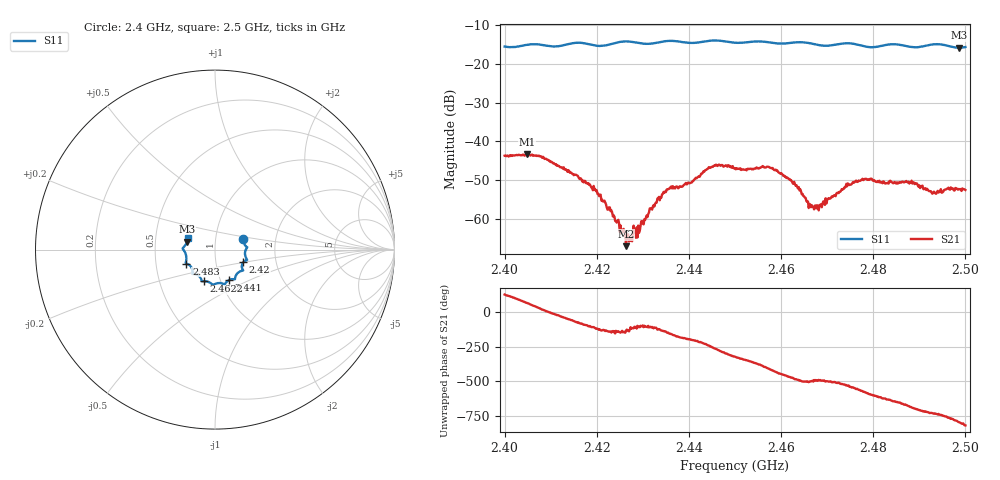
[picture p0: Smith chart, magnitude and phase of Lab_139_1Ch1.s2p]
# Hz S RI R 50
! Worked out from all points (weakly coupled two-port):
!   601 points, 2.4 GHz to 2.5 GHz, reference 50 ohm
!   highest |S21| = -43.19 dB at 2.4048 GHz (marker M1); lowest = -67.0 dB at 2.4263 GHz (marker M2)
!   lowest |S11| = -15.8 dB at 2.4987 GHz (marker M3), VSWR 1.39, Z = 36.4 + j3.32 ohm
!   |S11| at or under -10 dB: start of sweep to end of sweep
!   S12 and S22 are empty: the file has one direction only
!   S11 on the Smith chart (normalised r, x): 2.4 GHz: 1.36, +0.17; 2.42 GHz: 1.36, -0.20; 2.441 GHz: 1.09, -0.39; 2.4622 GHz: 0.83, -0.30; 2.483 GHz: 0.72, -0.12; 2.5 GHz: 0.73, +0.10
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2.4e9  0.1565 0.0602  -0.00348 0.00556  0 0  0 0
2.404833e9  0.176 0.0158  0.00325 0.00612  0 0  0 0
2.416667e9  0.1779 -0.0581  0.000314 -0.00324  0 0  0 0
2.42e9  0.1568 -0.0708  -0.00121 -0.00199  0 0  0 0
2.426333e9  0.1571 -0.1163  -0.000345 -0.000282  0 0  0 0
2.427333e9  0.1546 -0.1169  -0.000194 -0.000491  0 0  0 0
2.429e9  0.1434 -0.1198  -0.000301 -0.000765  0 0  0 0
2.433333e9  0.1128 -0.1525  -0.0011 -0.0015  0 0  0 0
2.435667e9  0.1111 -0.1645  -0.00224 -0.00102  0 0  0 0
2.441e9  0.0766 -0.1705  -0.00284 0.0013  0 0  0 0
2.4455e9  0.0531 -0.1939  -0.000633 0.00485  0 0  0 0
2.45e9  0.0262 -0.1862  0.00357 0.00275  0 0  0 0
2.457333e9  -0.0202 -0.1892  0.00313 -0.00351  0 0  0 0
2.462167e9  -0.0635 -0.1763  -0.00118 -0.00295  0 0  0 0
2.466667e9  -0.0762 -0.1667  -0.00112 -0.001  0 0  0 0
2.476e9  -0.1252 -0.1304  -0.00298 0.000384  0 0  0 0
2.483e9  -0.1591 -0.078  -5.85e-05 0.00289  0 0  0 0
2.483333e9  -0.1606 -0.0776  2.42e-05 0.00287  0 0  0 0
2.488833e9  -0.1603 -0.0371  0.00261 0.00141  0 0  0 0
2.493167e9  -0.1794 0.00399  0.00222 -0.000407  0 0  0 0
2.498667e9  -0.1554 0.0444  0.000772 -0.00229  0 0  0 0
2.5e9  -0.1528 0.0633  -0.000187 -0.00236  0 0  0 0
